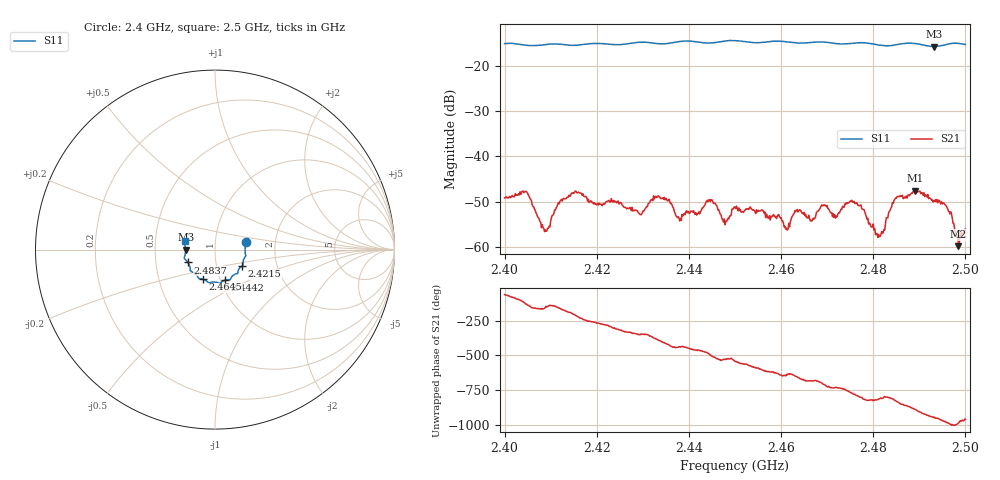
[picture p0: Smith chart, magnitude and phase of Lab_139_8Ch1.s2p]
# Hz S RI R 50
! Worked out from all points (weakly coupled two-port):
!   601 points, 2.4 GHz to 2.5 GHz, reference 50 ohm
!   highest |S21| = -47.58 dB at 2.489 GHz (marker M1); lowest = -59.8 dB at 2.4985 GHz (marker M2)
!   lowest |S11| = -15.7 dB at 2.4932 GHz (marker M3), VSWR 1.39, Z = 35.9 - j0.0537 ohm
!   |S11| at or under -10 dB: start of sweep to end of sweep
!   S12 and S22 are empty: the file has one direction only
!   S11 on the Smith chart (normalised r, x): 2.4 GHz: 1.41, +0.12; 2.4215 GHz: 1.33, -0.25; 2.4442 GHz: 1.05, -0.37; 2.4645 GHz: 0.83, -0.29; 2.4837 GHz: 0.73, -0.11; 2.5 GHz: 0.71, +0.07
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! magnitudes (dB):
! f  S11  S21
! 2.4 GHz  -15.1  -49.2
! 2.4048 GHz  -15.5  -47.9
! 2.409 GHz  -15.3  -56.6
! 2.4167 GHz  -15.3  -48.2
! 2.4215 GHz  -15.1  -50.4
! 2.4295 GHz  -14.8  -52.9
! 2.4333 GHz  -15.1  -48.7
! 2.4378 GHz  -14.6  -53.6
! 2.4442 GHz  -15.0  -49.6
! 2.4477 GHz  -14.5  -53.8
! 2.45 GHz  -14.4  -51.2
! 2.461 GHz  -14.7  -56.1
! 2.4645 GHz  -15.0  -52.5
! 2.4667 GHz  -14.8  -54.3
! 2.4753 GHz  -15.0  -49.7
! 2.4812 GHz  -15.4  -57.2
! 2.4833 GHz  -15.6  -52.4
! 2.4837 GHz  -15.5  -51.9
! 2.489 GHz  -15.0  -47.6
! 2.4932 GHz  -15.7  -49.8
! 2.4985 GHz  -15.0  -59.8
! 2.5 GHz  -15.3  -56.1
